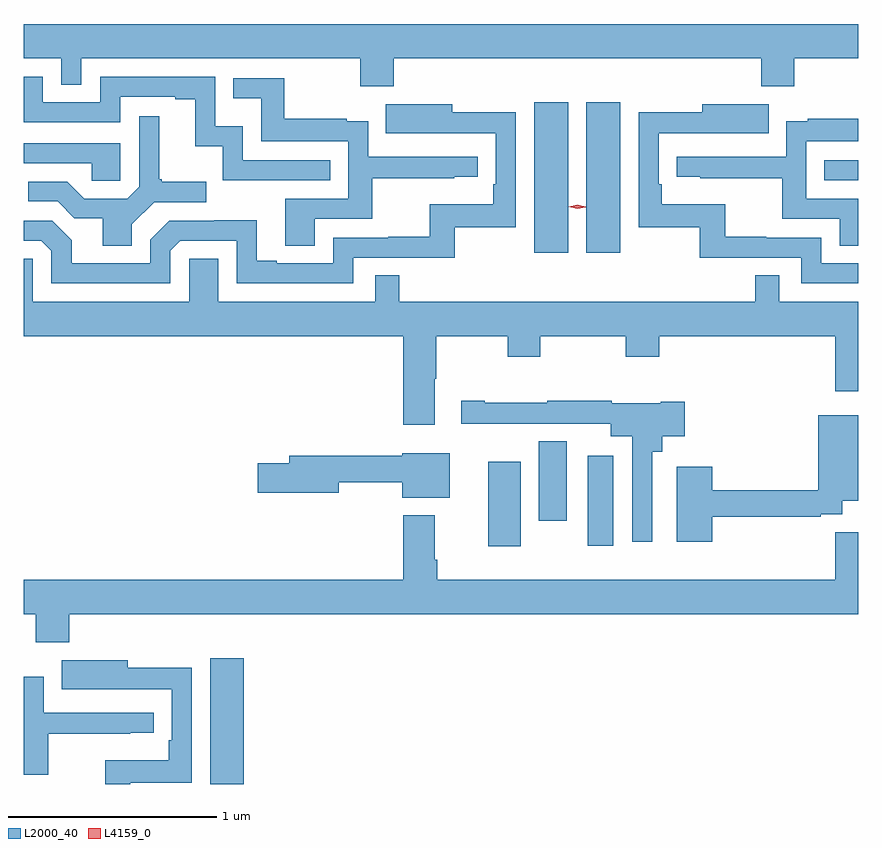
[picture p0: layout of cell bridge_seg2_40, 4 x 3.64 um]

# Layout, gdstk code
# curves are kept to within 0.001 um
import gdstk
lib = gdstk.Library(unit=1e-6, precision=1e-09)
def R(c, l, rs):  # rectangles x0, y0, x1, y1
    for r in rs: c.add(gdstk.rectangle(r[:2], r[2:], *l))
def P(c, l, *ps):  # polygons
    for p in ps: c.add(gdstk.Polygon(p, *l))
L2000_40 = (2000, 40)
L4159_0 = (4159, 0)

bridge_seg2_40 = lib.new_cell('bridge_seg2_40')
R(bridge_seg2_40, L2000_40, [(1106.165,624.178,1106.326,624.781), (1107.497,625.317,1107.652,625.723), (1107.974,625.32,1108.096,625.75), (1107.74,625.44,1107.874,625.82), (1107.719,626.724,1107.88,627.445), (1107.968,626.724,1108.129,627.445), (1109.107,627.072,1109.271,627.168)])
P(bridge_seg2_40, L2000_40, [(1107.044,627.656),(1108.805,627.656),(1108.805,627.521),(1108.965,627.521),(1108.965,627.656),(1109.271,627.656),(1109.271,627.82),(1105.271,627.82),(1105.271,627.656),(1105.452,627.656),(1105.452,627.529),(1105.548,627.529),(1105.548,627.656),(1106.884,627.656),(1106.884,627.521),(1107.044,627.521)],
  [(1106.741,627.168),(1106.322,627.168),(1106.322,627.331),(1106.19,627.331),(1106.19,627.567),(1105.638,627.567),(1105.638,627.444),(1105.362,627.444),(1105.362,627.567),(1105.271,627.567),(1105.271,627.348),(1105.734,627.348),(1105.734,627.471),(1105.997,627.471),(1105.997,627.459),(1106.093,627.459),(1106.093,627.233),(1106.226,627.233),(1106.226,627.072),(1106.741,627.072)],
  [(1106.665,626.886),(1106.942,626.886),(1106.942,627.082),(1107.335,627.082),(1107.335,627.087),(1107.448,627.087),(1107.448,627.183),(1106.922,627.183),(1106.922,627.355),(1106.819,627.355),(1106.819,627.367),(1106.521,627.367),(1106.521,627.561),(1106.275,627.561),(1106.275,627.464),(1106.41,627.464),(1106.41,627.258),(1106.826,627.258),(1106.826,626.982),(1106.525,626.982),(1106.525,626.758),(1106.665,626.758)],
  [(1105.974,626.733),(1106.022,626.781),(1106.292,626.781),(1106.292,626.577),(1106.85,626.577),(1106.85,626.7),(1107.337,626.7),(1107.337,626.847),(1107.63,626.847),(1107.63,627.398),(1107.325,627.398),(1107.325,627.436),(1107.007,627.436),(1107.007,627.296),(1107.534,627.297),(1107.534,627.052),(1107.521,627.052),(1107.521,626.956),(1107.216,626.956),(1107.216,626.801),(1107.019,626.801),(1107.019,626.796),(1106.754,626.796),(1106.754,626.673),(1106.485,626.673),(1106.485,626.686),(1106.389,626.686),(1106.389,626.879),(1106.184,626.879),(1106.184,626.877),(1105.968,626.877),(1105.878,626.787),(1105.878,626.673),(1105.501,626.673),(1105.501,626.783),(1105.407,626.877),(1105.271,626.877),(1105.271,626.781),(1105.356,626.781),(1105.404,626.733),(1105.404,626.577),(1105.974,626.577)],
  [(1109.271,626.673),(1109.094,626.673),(1109.094,626.796),(1108.829,626.796),(1108.829,626.801),(1108.633,626.801),(1108.633,626.956),(1108.328,626.956),(1108.328,627.052),(1108.314,627.052),(1108.314,627.297),(1108.627,627.297),(1108.627,627.296),(1108.841,627.296),(1108.841,627.436),(1108.523,627.436),(1108.523,627.398),(1108.218,627.398),(1108.218,626.847),(1108.512,626.847),(1108.512,626.7),(1108.998,626.7),(1108.998,626.577),(1109.271,626.577)],
  [(1105.789,626.86),(1105.896,626.967),(1106.146,626.967),(1106.146,627.064),(1105.933,627.064),(1105.933,627.076),(1105.921,627.076),(1105.921,627.379),(1105.824,627.379),(1105.824,627.039),(1105.767,626.982),(1105.561,626.982),(1105.48,627.063),(1105.293,627.063),(1105.293,626.97),(1105.434,626.97),(1105.514,626.89),(1105.649,626.89),(1105.649,626.758),(1105.789,626.758)],
  [(1109.271,626.982),(1109.022,626.982),(1109.022,627.258),(1109.271,627.258),(1109.271,627.367),(1109.029,627.367),(1109.029,627.355),(1108.926,627.355),(1108.926,627.183),(1108.401,627.183),(1108.401,627.087),(1108.513,627.087),(1108.513,627.082),(1108.906,627.082),(1108.906,626.886),(1109.183,626.886),(1109.183,626.758),(1109.271,626.758)],
  [(1105.734,627.249),(1105.271,627.249),(1105.271,627.153),(1105.597,627.153),(1105.597,627.069),(1105.734,627.069)],
  [(1107.241,626.12),(1107.249,626.12),(1107.249,626.324),(1107.592,626.324),(1107.592,626.225),(1107.747,626.225),(1107.747,626.324),(1108.156,626.324),(1108.156,626.225),(1108.316,626.225),(1108.316,626.324),(1109.161,626.324),(1109.161,626.061),(1109.271,626.061),(1109.271,626.488),(1108.893,626.488),(1108.893,626.615),(1108.777,626.615),(1108.777,626.488),(1107.071,626.488),(1107.071,626.615),(1106.955,626.615),(1106.955,626.488),(1106.203,626.488),(1106.203,626.696),(1106.064,626.696),(1106.064,626.488),(1105.314,626.488),(1105.314,626.696),(1105.271,626.696),(1105.271,626.324),(1107.089,626.324),(1107.089,625.899),(1107.241,625.899)],
  [(1108.284,625.769),(1108.331,625.769),(1108.331,625.844),(1108.438,625.844),(1108.438,626.01),(1108.325,626.01),(1108.325,626.002),(1108.089,626.002),(1108.089,626.014),(1107.781,626.014),(1107.781,626.004),(1107.481,626.004),(1107.481,626.014),(1107.369,626.014),(1107.369,625.904),(1107.644,625.904),(1107.644,625.905),(1108.085,625.905),(1108.085,625.844),(1108.188,625.844),(1108.188,625.338),(1108.284,625.338)],
  [(1108.571,625.458),(1109.09,625.458),(1109.09,625.47),(1109.194,625.47),(1109.194,625.535),(1109.271,625.535),(1109.271,625.945),(1109.078,625.945),(1109.078,625.586),(1108.571,625.586),(1108.571,625.699),(1108.4,625.699),(1108.4,625.338),(1108.571,625.338)],
  [(1107.313,625.762),(1107.086,625.762),(1107.086,625.751),(1106.543,625.751),(1106.543,625.715),(1106.394,625.715),(1106.394,625.573),(1106.782,625.573),(1106.782,625.623),(1107.086,625.623),(1107.086,625.55),(1107.313,625.55)],
  [(1105.49,624.992),(1109.271,624.992),(1109.271,625.385),(1109.161,625.385),(1109.161,625.156),(1107.254,625.156),(1107.254,625.252),(1107.241,625.252),(1107.241,625.465),(1107.089,625.465),(1107.089,625.156),(1105.271,625.156),(1105.271,624.992),(1105.33,624.992),(1105.33,624.857),(1105.49,624.857)],
  [(1105.783,624.183),(1106.076,624.183),(1106.076,624.734),(1105.771,624.734),(1105.771,624.772),(1105.453,624.772),(1105.453,624.632),(1105.667,624.632),(1105.667,624.633),(1105.98,624.633),(1105.98,624.388),(1105.967,624.388),(1105.967,624.292),(1105.662,624.292),(1105.662,624.178),(1105.783,624.178)],
  [(1105.388,624.418),(1105.781,624.418),(1105.781,624.423),(1105.894,624.423),(1105.894,624.519),(1105.368,624.519),(1105.368,624.691),(1105.271,624.691),(1105.271,624.594),(1105.272,624.594),(1105.272,624.318),(1105.271,624.318),(1105.271,624.222),(1105.388,624.222)])
P(bridge_seg2_40, L4159_0, [(1107.924,626.934),(1107.884,626.944),(1107.884,626.944),(1107.884,626.944),(1107.924,626.954),(1107.964,626.944),(1107.964,626.944),(1107.964,626.943)])

lib.write_gds('bridge_seg2_40.gds')
